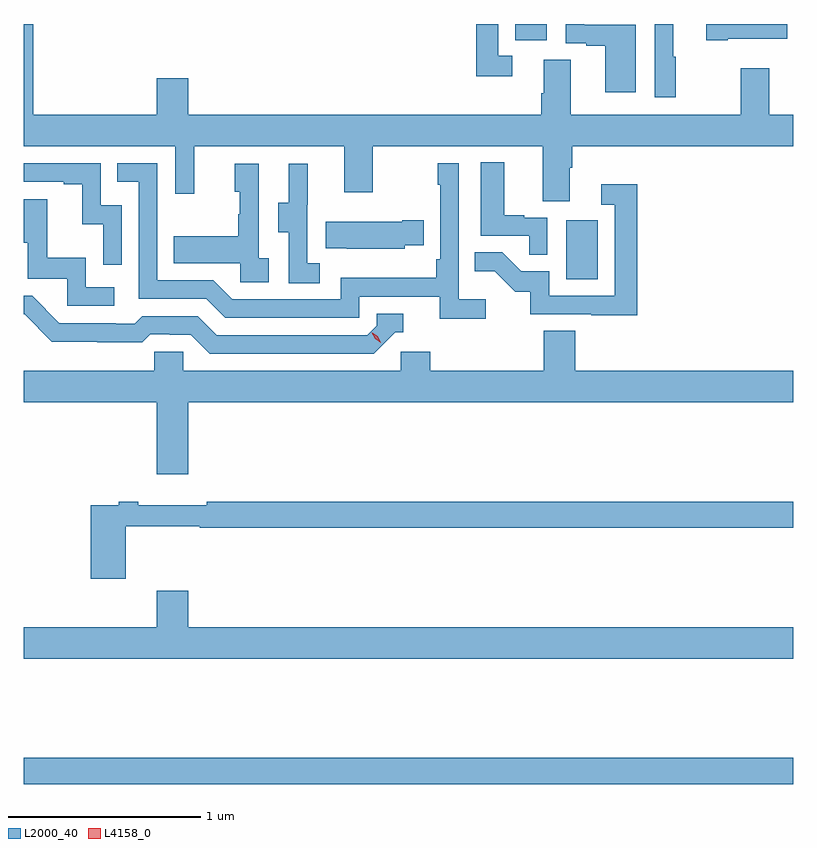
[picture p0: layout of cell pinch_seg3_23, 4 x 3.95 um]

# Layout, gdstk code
import gdstk
lib = gdstk.Library(unit=1e-6, precision=1e-09)
def R(c, l, rs):  # rectangles x0, y0, x1, y1
    for r in rs: c.add(gdstk.rectangle(r[:2], r[2:], *l))
def P(c, l, *ps):  # polygons
    for p in ps: c.add(gdstk.Polygon(p, *l))
L2000_40 = (2000, 40)
L4158_0 = (4158, 0)

pinch_seg3_23 = lib.new_cell('pinch_seg3_23')
R(pinch_seg3_23, L2000_40, [(1111.37,728.236,1115.37,728.372), (1114.19,730.86,1114.354,731.167), (1113.926,732.102,1114.09,732.187)])
P(pinch_seg3_23, L2000_40, [(1114.759,732.017),(1114.747,732.017),(1114.747,732.187),(1114.65,732.187),(1114.65,731.805),(1114.759,731.805)],
  [(1113.91,732.021),(1113.837,732.021),(1113.837,732.187),(1113.721,732.187),(1113.721,731.916),(1113.91,731.916)],
  [(1114.207,731.44),(1114.22,731.44),(1114.22,731.552),(1115.37,731.552),(1115.37,731.716),(1115.245,731.716),(1115.245,731.956),(1115.098,731.956),(1115.098,731.716),(1114.213,731.716),(1114.213,732.002),(1114.073,732.002),(1114.073,731.828),(1114.061,731.828),(1114.061,731.716),(1112.224,731.716),(1112.224,731.905),(1112.06,731.905),(1112.06,731.716),(1111.42,731.716),(1111.42,732.187),(1111.37,732.187),(1111.37,731.552),(1112.157,731.552),(1112.157,731.304),(1112.255,731.304),(1112.255,731.552),(1113.035,731.552),(1113.035,731.313),(1113.183,731.313),(1113.183,731.552),(1114.067,731.552),(1114.067,731.266),(1114.207,731.266)],
  [(1115.029,732.11),(1115.339,732.11),(1115.339,732.187),(1114.917,732.187),(1114.917,732.103),(1115.029,732.103)],
  [(1114.552,732.183),(1114.283,732.183),(1114.283,732.187),(1114.188,732.187),(1114.188,732.087),(1114.295,732.087),(1114.295,732.075),(1114.394,732.075),(1114.394,731.832),(1114.552,731.832)],
  [(1114.092,731.181),(1113.971,731.181),(1113.971,731.194),(1113.868,731.194),(1113.868,731.467),(1113.746,731.467),(1113.746,731.085),(1113.997,731.085),(1113.997,730.987),(1114.092,730.987)],
  [(1113.772,730.756),(1113.63,730.756),(1113.63,731.464),(1113.522,731.464),(1113.522,731.351),(1113.534,731.351),(1113.534,730.963),(1113.514,730.963),(1113.514,730.867),(1113.018,730.867),(1113.018,730.755),(1112.454,730.755),(1112.355,730.854),(1112.064,730.854),(1112.064,731.463),(1111.855,731.463),(1111.855,731.367),(1111.968,731.367),(1111.968,730.758),(1112.318,730.758),(1112.417,730.659),(1113.114,730.659),(1113.114,730.77),(1113.533,730.77),(1113.533,730.654),(1113.772,730.654)],
  [(1111.878,731.244),(1111.77,731.244),(1111.77,731.463),(1111.37,731.463),(1111.37,731.367),(1111.577,731.367),(1111.577,731.355),(1111.673,731.355),(1111.673,731.147),(1111.782,731.147),(1111.782,730.935),(1111.878,730.935)],
  [(1112.908,730.943),(1112.844,730.943),(1112.844,731.247),(1112.846,731.247),(1112.846,731.461),(1112.747,731.461),(1112.747,731.259),(1112.693,731.259),(1112.693,731.104),(1112.748,731.104),(1112.748,730.84),(1112.908,730.84)],
  [(1112.644,730.97),(1112.592,730.97),(1112.592,731.461),(1112.468,731.461),(1112.468,731.316),(1112.494,731.316),(1112.494,731.198),(1112.484,731.198),(1112.484,731.083),(1112.149,731.083),(1112.149,730.943),(1112.496,730.943),(1112.496,730.845),(1112.644,730.845)],
  [(1114.559,731.353),(1114.371,731.353),(1114.371,731.247),(1114.443,731.247),(1114.443,730.773),(1114.101,730.773),(1114.101,730.902),(1113.956,730.902),(1113.858,731),(1113.715,731),(1113.715,730.901),(1113.819,730.901),(1113.926,730.794),(1114.003,730.794),(1114.003,730.677),(1114.321,730.677),(1114.321,730.672),(1114.559,730.672)],
  [(1111.84,730.818),(1111.692,730.818),(1111.692,730.972),(1111.493,730.972),(1111.493,731.275),(1111.37,731.275),(1111.37,731.049),(1111.391,731.049),(1111.391,730.863),(1111.596,730.863),(1111.596,730.722),(1111.84,730.722)],
  [(1113.351,731.036),(1113.449,731.036),(1113.449,731.166),(1113.338,731.166),(1113.338,731.158),(1112.941,731.158),(1112.941,731.021),(1113.049,731.021),(1113.049,731.018),(1113.351,731.018)],
  [(1113.3,730.584),(1113.343,730.584),(1113.343,730.68),(1113.204,730.68),(1113.204,730.617),(1113.156,730.569),(1112.373,730.569),(1112.274,730.668),(1111.985,730.668),(1111.946,730.629),(1111.847,730.629),(1111.847,730.632),(1111.554,730.632),(1111.413,730.773),(1111.37,730.773),(1111.37,730.677),(1111.374,730.677),(1111.516,730.535),(1111.752,730.535),(1111.752,730.533),(1111.985,730.533),(1112.027,730.575),(1112.13,730.575),(1112.13,730.572),(1112.237,730.572),(1112.336,730.473),(1113.189,730.473)],
  [(1112.224,730.22),(1115.37,730.22),(1115.37,730.384),(1114.238,730.384),(1114.238,730.592),(1114.073,730.592),(1114.073,730.384),(1113.482,730.384),(1113.482,730.482),(1113.33,730.482),(1113.33,730.384),(1112.199,730.384),(1112.199,730.482),(1112.049,730.482),(1112.049,730.384),(1111.37,730.384),(1111.37,730.22),(1112.06,730.22),(1112.06,729.846),(1112.224,729.846)],
  [(1111.901,729.576),(1112.284,729.576),(1112.284,729.568),(1115.37,729.568),(1115.37,729.704),(1112.32,729.704),(1112.32,729.685),(1111.964,729.685),(1111.964,729.704),(1111.864,729.704),(1111.864,729.684),(1111.718,729.684),(1111.718,729.303),(1111.901,729.303)],
  [(1115.37,729.052),(1112.224,729.052),(1112.224,729.241),(1112.06,729.241),(1112.06,729.052),(1111.37,729.052),(1111.37,728.888),(1115.37,728.888)])
P(pinch_seg3_23, L4158_0, [(1113.227,730.531),(1113.196,730.55),(1113.18,730.583),(1113.18,730.583),(1113.181,730.583),(1113.211,730.564),(1113.227,730.532),(1113.227,730.531)])

lib.write_gds('pinch_seg3_23.gds')
